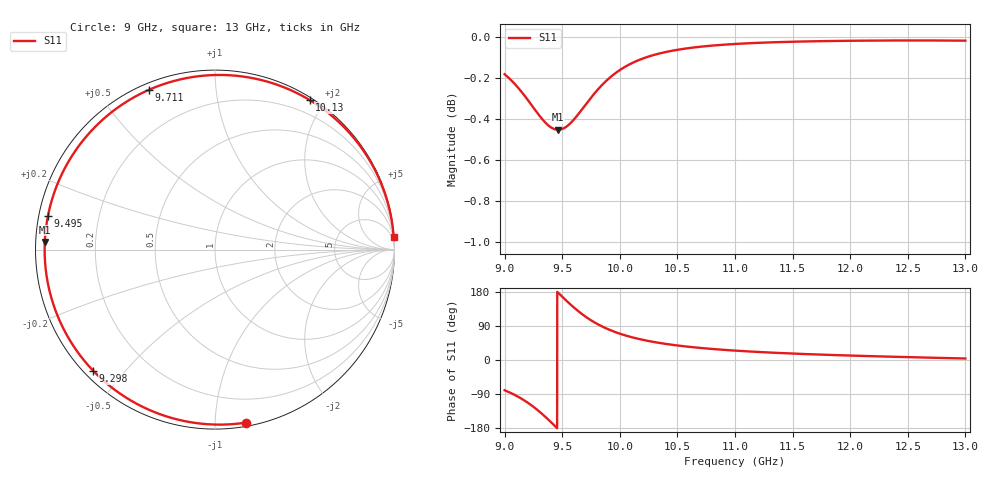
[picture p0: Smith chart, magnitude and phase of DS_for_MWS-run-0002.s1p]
! TOUCHSTONE file generated by CST DESIGN STUDIO
! Date and time: Tue Feb  4 13:52:38 2025
! Project name: C:\Work\MatlabApps\UnitCellOptimizationMatlab\CST\unitcell.cst
! Tree item: Tasks\Sweep1\SPara1\S-Parameters
! Header version: 2024
! Port assignment regex: !\s*Touchstone port\s*([0-9]+)\s*=\s*(CST MWS port|CST DES external port|CST DES block port)\s*(.+)\s* \(\"(.*)\"\)(\s*mode\s*([0-9]+))?.*
! Touchstone port assignment:
! Touchstone port 1 = CST DES external port 1 ("")
# GHz S MA R 50
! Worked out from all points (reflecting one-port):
!   4001 points, 9 GHz to 13 GHz, reference 50 ohm
!   lowest |S11| = -0.5 dB at 9.465 GHz (marker M1), VSWR 38.40, Z = 1.3 + j1.12 ohm
!   phase of S11 starts at -80 deg and turns -276 deg over the sweep
!   S11 on the Smith chart (normalised r, x): 9 GHz: 0.03, -1.19; 9.298 GHz: 0.03, -0.41; 9.495 GHz: 0.03, +0.10; 9.711 GHz: 0.03, +0.67; 10.13 GHz: 0.03, +1.81; 13 GHz: 1, +29
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9  0.9792 -79.9
9.072  0.9749 -89.7
9.168  0.9679 -106.1
9.235  0.9623 -120.0
9.298  0.9571 -135.1
9.342  0.9538 -146.8
9.388  0.9511 -159.8
9.427  0.9497 -171.2
9.465  0.9492 177.4
9.495  0.9495 168.5
9.5  0.9497 167.0
9.55  0.9515 152.5
9.608  0.9551 136.8
9.659  0.9591 124.2
9.711  0.9633 112.6
9.768  0.9678 101.5
9.831  0.9723 90.9
9.914  0.9774 79.2
10  0.9815 69.5
10.135  0.9862 57.7
10.3  0.9899 47.3
10.5  0.9927 38.3
10.722  0.9945 31.2
11  0.9959 24.8
11.5  0.9972 17.0
12  0.9977 11.7
12.5  0.9979 7.6
13  0.9978 4.0
